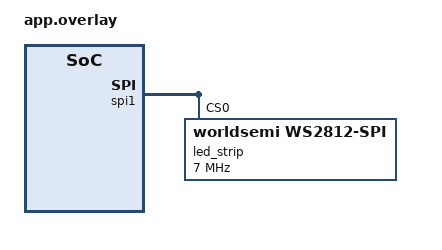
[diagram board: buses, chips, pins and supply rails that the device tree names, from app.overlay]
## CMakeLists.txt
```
cmake_minimum_required(VERSION 3.20.0)
find_package(Zephyr REQUIRED HINTS $ENV{ZEPHYR_BASE})
project(ws2812_led)
target_sources(app PRIVATE src/main.c)
```

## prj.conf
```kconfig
CONFIG_SPI=y
CONFIG_LED_STRIP=y
CONFIG_PRINTK=y
```

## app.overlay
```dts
#include <zephyr/dt-bindings/led/led.h>

/ {
	aliases {
		led-strip = &led_strip;
	};
};

/*
 * WS2812 strip on the mikroBUS MOSI pin (DIN), driven by SPI1.
 *
 * The MSS SPI clock is 150 MHz / (2 * (idx + 1)). Asking for 7 MHz selects
 * idx = 11, i.e. 6.25 MHz, so one 8-bit SPI byte is one WS2812 bit (1.28 us):
 *   '1' = 0xF8 -> 800 ns high, 480 ns low
 *   '0' = 0xC0 -> 320 ns high, 960 ns low
 * Requests below ~4.7 MHz do not work: the driver falls back to divider 0.
 */
&spi1 {
	status = "okay";

	led_strip: ws2812@0 {
		compatible = "worldsemi,ws2812-spi";
		reg = <0>;
		spi-max-frequency = <7000000>;
		chain-length = <24>;   /* number of LEDs on the strip */
		color-mapping = <LED_COLOR_ID_GREEN
				 LED_COLOR_ID_RED
				 LED_COLOR_ID_BLUE>;
		spi-one-frame = <0xF8>;
		spi-zero-frame = <0xC0>;
	};
};
```

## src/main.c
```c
/*
 * WS2812 (NeoPixel) LED strip demo for the PIC64GX Curiosity Kit (Zephyr).
 *
 * DIN is on the mikroBUS MOSI pin (SPI1, see app.overlay). Runs a rainbow
 * that scrolls around the ring. The LED count is chain-length in app.overlay.
 */
#include <zephyr/kernel.h>
#include <zephyr/device.h>
#include <zephyr/drivers/led_strip.h>
#include <zephyr/sys/printk.h>

#define STRIP_NODE  DT_ALIAS(led_strip)
#define NUM_LEDS    DT_PROP(STRIP_NODE, chain_length)
#define BRIGHTNESS  32   /* 0-255; each LED draws up to ~60 mA at full white */
#define FRAME_MS    30
#define HUE_STEP    4

static const struct device *const strip = DEVICE_DT_GET(STRIP_NODE);
static struct led_rgb pixels[NUM_LEDS];

/* Colour wheel: 0-255 runs red -> green -> blue -> red, scaled by BRIGHTNESS. */
static struct led_rgb wheel(uint8_t pos)
{
	uint8_t r, g, b;

	if (pos < 85) {
		r = 255 - pos * 3;
		g = pos * 3;
		b = 0;
	} else if (pos < 170) {
		pos -= 85;
		r = 0;
		g = 255 - pos * 3;
		b = pos * 3;
	} else {
		pos -= 170;
		r = pos * 3;
		g = 0;
		b = 255 - pos * 3;
	}

	return (struct led_rgb){
		.r = r * BRIGHTNESS / 255,
		.g = g * BRIGHTNESS / 255,
		.b = b * BRIGHTNESS / 255,
	};
}

int main(void)
{
	if (!device_is_ready(strip)) {
		printk("LED strip not ready\n");
		return 0;
	}

	printk("WS2812 strip ready (%d LEDs)\n", NUM_LEDS);

	uint8_t hue = 0;

	while (1) {
		for (int i = 0; i < NUM_LEDS; i++) {
			pixels[i] = wheel(hue + i * 256 / NUM_LEDS);
		}

		int err = led_strip_update_rgb(strip, pixels, NUM_LEDS);

		if (err) {
			printk("led_strip_update_rgb failed: %d\n", err);
		}

		hue += HUE_STEP;
		k_msleep(FRAME_MS);
	}
}
```
